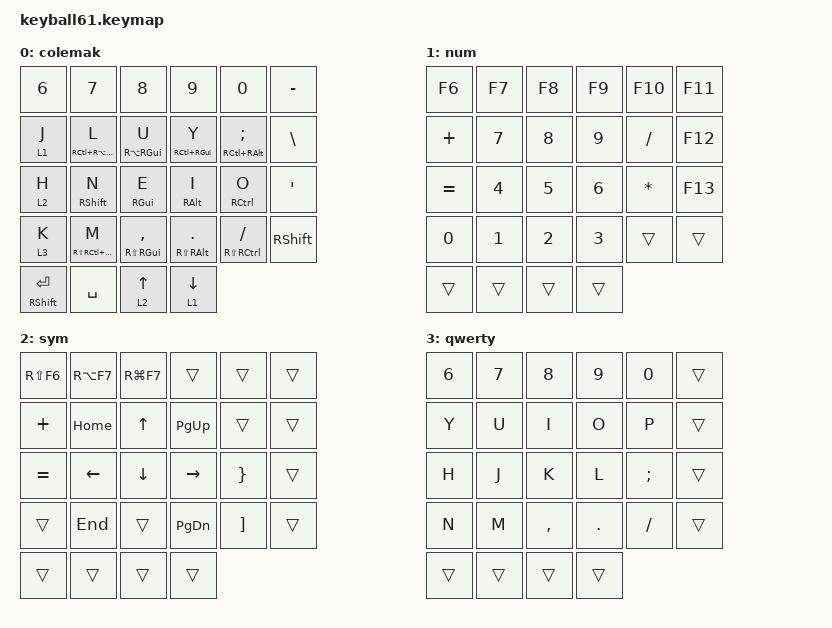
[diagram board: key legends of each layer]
#include <behaviors.dtsi>
#include <behaviors/mouse_keys.dtsi>
#include <dt-bindings/zmk/bt.h>
#include <dt-bindings/zmk/keys.h>
#include <dt-bindings/zmk/mouse.h>
#include <zephyr/dt-bindings/input/input-event-codes.h>

#include "zmk-helpers/helper.h"

// 右手単独用のキー位置ラベル定義（7列×5行に対応）
#define RN0 0  RN1 1  RN2 2  RN3 3  RN4 4  RN5 5
#define RT0 6  RT1 7  RT2 8  RT3 9  RT4 10 RT5 11
#define RM0 12 RM1 13 RM2 14 RM3 15 RM4 16 RM5 17
#define RB0 18 RB1 19 RB2 20 RB3 21 RB4 22 RB5 23
#define RH0 24 RH1 25 RH2 26 RH3 27

#define KEYS_R RN0 RN1 RN2 RN3 RN4 RN5 RT0 RT1 RT2 RT3 RT4 RT5 RM0 RM1 RM2 RM3 RM4 RM5 RB0 RB1 RB2 RB3 RB4 RB5
#define THUMBS_R RH0 RH1 RH2 RH3

#define COLEMAK 0
#define NUM     1
#define SYM     2
#define QWERTY  3
#define MOUSE   4
#define SNIPE   5

#define HOLD_TAPPING_TERM_MS 180
#define QUICK_TAP_MS 175
#define REQ_PRIOR_IDLE_MS 150
#define TAPPING_TERM_MS 200

&lt {
  tapping-term-ms = <TAPPING_TERM_MS>;
  flavor = "balanced";
  quick-tap-ms = <REQ_PRIOR_IDLE_MS>;
};

&mmv {
  acceleration-exponent = <1>;
  time-to-max-speed-ms = <500>;
  delay-ms = <0>;
};

&msc {
  acceleration-exponent = <1>;
  time-to-max-speed-ms = <40>;
  delay-ms = <0>;
};

&mt {
  flavor = "tap-preferred";
  hold-trigger-key-positions = <0>;
  quick-tap-ms = <220>;
  tapping-term-ms = <220>;
};

/* HRM combo templates for Right Hand Only */
#define MAKE_HRM(NAME, HOLD, TAP, TRIGGER_POS) \
    ZMK_HOLD_TAP(NAME, \
        flavor = "balanced"; \
        tapping-term-ms = <HOLD_TAPPING_TERM_MS>; \
        quick-tap-ms = <QUICK_TAP_MS>; \
        require-prior-idle-ms = <REQ_PRIOR_IDLE_MS>; \
        bindings = <HOLD>, <TAP>; \
        hold-trigger-key-positions = <TRIGGER_POS>; \
        hold-trigger-on-release; \
    )
MAKE_HRM(hmr, &kp, &kp, KEYS_R THUMBS_R)

/* Mod morphs */
ZMK_MOD_MORPH(bs_del,
  bindings = <&kp BACKSPACE>, <&kp DELETE>;
  keep-mods = <MOD_RSFT>;
  mods = <(MOD_LSFT|MOD_RSFT)>;
)

/* Keymap - Right Hand Only Edition */
/ {
  keymap {
    compatible = "zmk,keymap";

    /********************************************************************************/
    /* COLEMAK (右手単体配置) */
    /********************************************************************************/
    colemak { bindings = <
    &kp N6      &kp N7               &kp N8               &kp N9             &kp N0               &kp MINUS
    &lt 1 J     &hmr RC(RA(RGUI)) L  &hmr RA(RGUI) U      &hmr RC(RGUI) Y    &hmr RC(RALT) SEMI   &kp BSLH
    &lt 2 H     &hmr RSHIFT N        &hmr RGUI E          &hmr RALT I        &hmr RCTRL O         &kp SQT
    &lt 3 K     &hmr RS(RC(RALT)) M  &hmr RS(RGUI) COMMA  &hmr RS(RALT) DOT  &hmr RS(RCTRL) FSLH  &kp RSHFT
    &hmr RSHFT RET &kp SPACE         &lt 2 UP             &lt 1 DOWN
    >; };

    /********************************************************************************/
    /* NUM (右手単体配置) */
    /********************************************************************************/
    num { bindings = <
    &kp F6      &kp F7               &kp F8               &kp F9             &kp F10              &kp F11
    &kp PLUS    &kp N7               &kp N8               &kp N9             &kp FSLH             &kp F12
    &kp EQUAL   &kp N4               &kp N5               &kp N6             &kp STAR             &kp F13
    &kp N0      &kp N1               &kp N2               &kp N3             &trans               &trans
    &trans      &trans               &trans               &trans
    >; };

    /********************************************************************************/
    /* SYM (右手単体配置) */
    /********************************************************************************/
    sym { bindings = <
    &kp RS(F6)  &kp RA(F7)           &kp RG(F7)           &trans             &trans               &trans
    &kp PLUS    &kp HOME             &kp UP               &kp PG_UP          &trans               &trans
    &kp EQUAL   &kp LEFT             &kp DOWN             &kp RIGHT          &kp RBRC             &trans
    &trans      &kp END              &trans               &kp PG_DN          &kp RBKT             &trans
    &trans      &trans               &trans               &trans
    >; };

    /********************************************************************************/
    /* QWERTY (右手単体配置) */
    /********************************************************************************/
    qwerty { bindings = <
    &kp N6      &kp N7               &kp N8               &kp N9             &kp N0               &trans
    &kp Y       &kp U                &kp I                &kp O              &kp P                &trans
    &kp H       &kp J                &kp K                &kp L              &kp SEMI             &trans
    &kp N       &kp M                &kp COMMA            &kp DOT            &kp FSLH             &trans
    &trans      &trans               &trans               &trans
    >; };
  };
};
